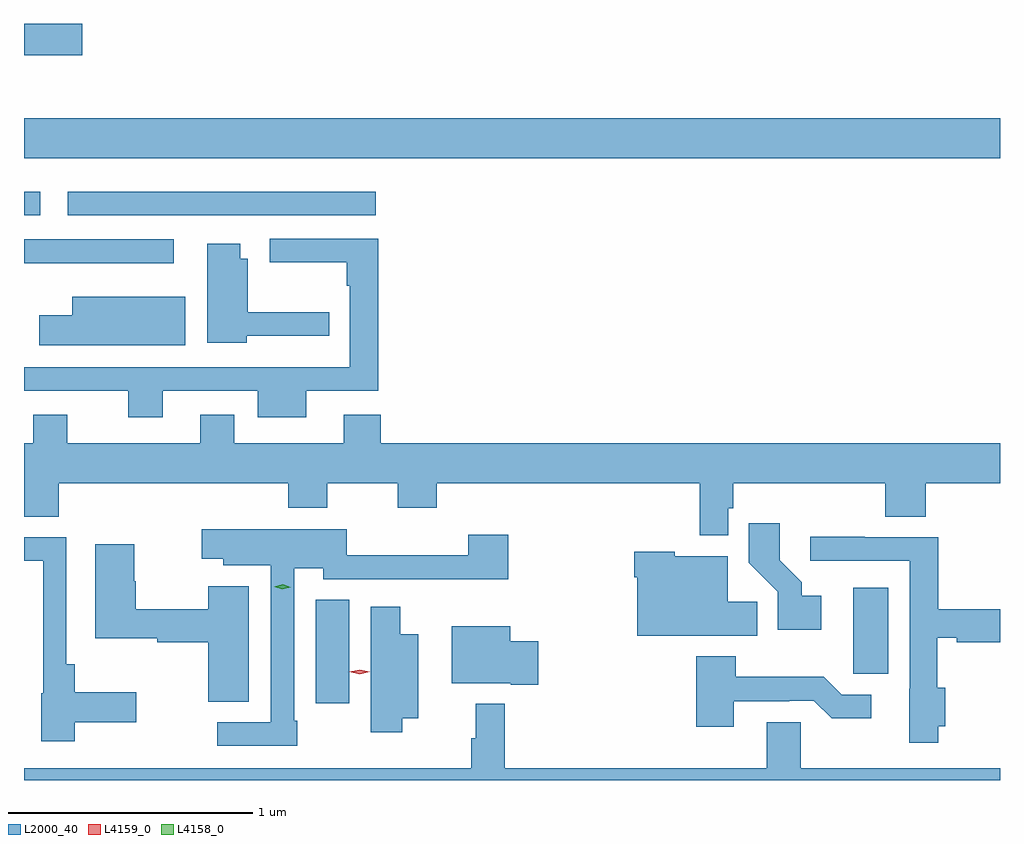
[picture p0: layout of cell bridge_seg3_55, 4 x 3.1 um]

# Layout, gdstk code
import gdstk
lib = gdstk.Library(unit=1e-6, precision=1e-09)
def R(c, l, rs):  # rectangles x0, y0, x1, y1
    for r in rs: c.add(gdstk.rectangle(r[:2], r[2:], *l))
def P(c, l, *ps):  # polygons
    for p in ps: c.add(gdstk.Polygon(p, *l))
L2000_40 = (2000, 40)
L4158_0 = (4158, 0)
L4159_0 = (4159, 0)

bridge_seg3_55 = lib.new_cell('bridge_seg3_55')
R(bridge_seg3_55, L2000_40, [(988.979,666.714,989.116,667.139), (987.783,668.519,988.396,668.616), (987.783,668.715,987.85,668.812), (987.963,668.715,989.224,668.812), (987.783,668.948,991.783,669.112), (987.783,669.371,988.021,669.499)])
P(bridge_seg3_55, L2000_40, [(988.351,667.995),(988.742,667.995),(988.742,667.886),(988.939,667.886),(988.939,667.995),(989.234,667.995),(989.234,668.619),(988.791,668.619),(988.791,668.522),(989.106,668.522),(989.106,668.426),(989.118,668.426),(989.118,668.091),(987.783,668.091),(987.783,667.995),(988.211,667.995),(988.211,667.886),(988.351,667.886)],
  [(988.695,668.22),(989.033,668.22),(989.033,668.318),(988.699,668.318),(988.699,668.536),(988.669,668.536),(988.669,668.599),(988.535,668.599),(988.535,668.192),(988.695,668.192)],
  [(988.444,668.38),(987.98,668.38),(987.98,668.305),(987.846,668.305),(987.846,668.183),(988.444,668.183)],
  [(990.669,667.515),(990.689,667.515),(990.689,667.616),(991.313,667.616),(991.313,667.48),(991.478,667.48),(991.478,667.616),(991.783,667.616),(991.783,667.78),(989.246,667.78),(989.246,667.897),(989.093,667.897),(989.093,667.78),(988.645,667.78),(988.645,667.897),(988.505,667.897),(988.505,667.78),(987.961,667.78),(987.961,667.897),(987.821,667.897),(987.821,667.78),(987.783,667.78),(987.783,667.48),(987.926,667.48),(987.926,667.616),(988.865,667.616),(988.865,667.517),(989.025,667.517),(989.025,667.616),(989.314,667.616),(989.314,667.517),(989.474,667.517),(989.474,667.616),(990.553,667.616),(990.553,667.403),(990.669,667.403)],
  [(991.051,667.156),(990.97,667.156),(990.97,667.211),(990.88,667.301),(990.88,667.453),(990.754,667.453),(990.754,667.29),(990.873,667.171),(990.873,667.016),(991.051,667.016)],
  [(988.903,666.643),(988.89,666.643),(988.89,667.268),(989.01,667.268),(989.01,667.224),(989.519,667.224),(989.519,667.223),(989.768,667.223),(989.768,667.405),(989.603,667.405),(989.603,667.322),(989.106,667.322),(989.106,667.429),(988.512,667.429),(988.512,667.307),(988.599,667.307),(988.599,667.28),(988.794,667.28),(988.794,666.636),(988.575,666.636),(988.575,666.54),(988.903,666.54)],
  [(991.529,666.62),(991.559,666.62),(991.559,666.778),(991.525,666.778),(991.525,666.983),(991.606,666.983),(991.606,666.964),(991.783,666.964),(991.783,667.1),(991.529,667.1),(991.529,667.395),(991.229,667.395),(991.229,667.398),(991.005,667.398),(991.005,667.299),(991.413,667.299),(991.413,666.774),(991.412,666.774),(991.412,666.552),(991.529,666.552)],
  [(987.99,666.638),(988.243,666.638),(988.243,666.76),(987.99,666.76),(987.99,666.874),(987.957,666.874),(987.957,667.395),(987.783,667.395),(987.783,667.299),(987.861,667.299),(987.861,666.756),(987.854,666.756),(987.854,666.56),(987.99,666.56)],
  [(988.705,667.195),(988.538,667.195),(988.538,667.1),(988.242,667.1),(988.242,667.215),(988.234,667.215),(988.234,667.366),(988.076,667.366),(988.076,666.982),(988.33,666.982),(988.33,666.964),(988.538,666.964),(988.538,666.721),(988.705,666.721)],
  [(990.788,667.13),(990.667,667.13),(990.667,667.318),(990.45,667.318),(990.45,667.336),(990.284,667.336),(990.284,667.232),(990.296,667.232),(990.296,666.992),(990.788,666.992)],
  [(991.324,667.189),(991.181,667.189),(991.181,666.946),(991.182,666.946),(991.182,666.835),(991.324,666.835)],
  [(989.334,666.653),(989.398,666.653),(989.398,666.997),(989.326,666.997),(989.326,667.111),(989.204,667.111),(989.204,666.597),(989.334,666.597)],
  [(989.89,666.968),(989.776,666.968),(989.776,667.03),(989.537,667.03),(989.537,666.797),(989.777,666.797),(989.777,666.79),(989.89,666.79)],
  [(990.691,666.723),(990.92,666.723),(990.92,666.726),(991.02,666.726),(991.093,666.653),(991.255,666.653),(991.255,666.75),(991.134,666.75),(991.061,666.823),(990.699,666.823),(990.699,666.907),(990.539,666.907),(990.539,666.618),(990.691,666.618)],
  [(989.635,666.712),(989.635,666.572),(989.617,666.572),(989.617,666.448),(987.783,666.448),(987.783,666.4),(991.783,666.4),(991.783,666.448),(990.966,666.448),(990.966,666.638),(990.827,666.638),(990.827,666.448),(989.753,666.448),(989.753,666.712)])
P(bridge_seg3_55, L4158_0, [(988.842,667.182),(988.808,667.193),(988.807,667.193),(988.808,667.193),(988.843,667.202),(988.877,667.191),(988.877,667.191),(988.877,667.191)])
P(bridge_seg3_55, L4159_0, [(989.158,666.833),(989.117,666.843),(989.117,666.843),(989.117,666.844),(989.158,666.853),(989.199,666.843),(989.199,666.843),(989.199,666.843)])

lib.write_gds('bridge_seg3_55.gds')
